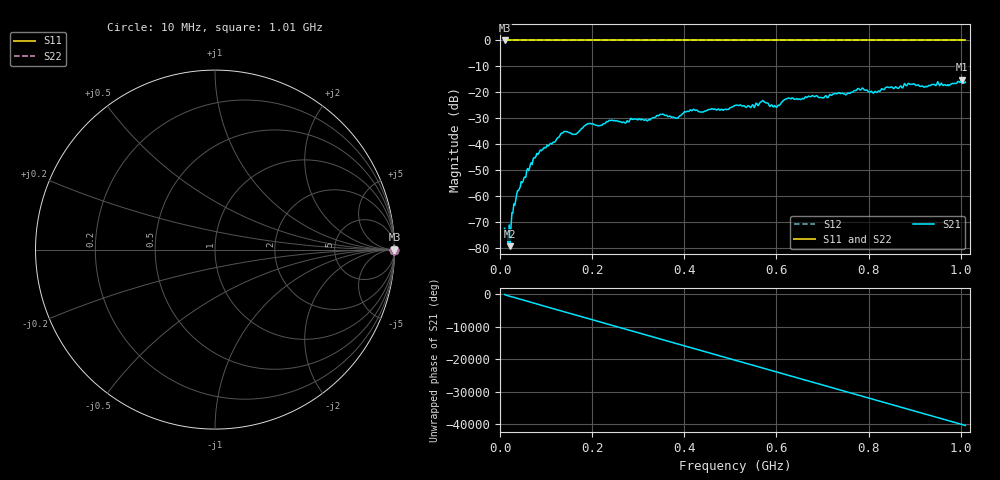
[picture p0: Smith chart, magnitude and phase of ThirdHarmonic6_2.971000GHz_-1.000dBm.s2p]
! 8/17/2025 8:24:47 AM
! C:\ANRITSUVNA\TEMP\TEMP.S2P
! CHANNEL.1
! TR.MEASUREMENT
! RAW.DATA
! RF.CORRECTION.OFF
! AVERAGING.OFF
! IF.BANDWIDTH: 5KHZ
! SWEEPTYPE:  FREQ.SWEEP(Linear)
! Reference Plane Port Info
! PORT:  PORT1  PORT2
! DISTANCE:  0  m  0  m
! TIME:  0  s  0  s
! PHASE.OFFSET:  0  deg.  0  deg.
! LOSS:  0  dB  0  dB
! REF.LOSS:  0  dB  0  dB
! REF.FREQ:  0  Hz  0  Hz
! Power Info
! POWER:  -20  dBm  -20  dBm
! EFF.POWER:  -20  dBm  -20  dBm
! SOURCE.ATTEN:  0  dB  0  dB
! TEST.ATTEN:  0  dB  0  dB
# GHZ S RI R 50.0
! FREQ.GHZ  S11RE  S11IM  S21RE  S21IM  S12RE  S12IM  S22RE  S22IM
!; PortSelection: Port_12
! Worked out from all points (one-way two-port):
!   501 points, 10 MHz to 1.01 GHz, reference 50 ohm
!   highest |S21| = -15.07 dB at 1.002 GHz (marker M1); lowest = -79.2 dB at 22 MHz (marker M2)
!   lowest |S11| = 0.0 dB at 10 MHz (marker M3)
!   |S11| at or under -10 dB: nowhere
!   |S22| runs from 0.0 to 0.0 dB; largest |S21 - S12| = 1.2
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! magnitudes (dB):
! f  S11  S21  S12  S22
! 10 MHz  0.0  -72.3  0.0  0.0
! 18 MHz  0.0  -78.2  0.0  0.0
! 22 MHz  0.0  -79.2  0.0  0.0
! 30 MHz  0.0  -63.0  0.0  0.0
! 40 MHz  0.0  -57.8  0.0  0.0
! 76 MHz  0.0  -45.2  0.0  0.0
! 136 MHz  0.0  -35.6  0.0  0.0
! 162 MHz  0.0  -36.2  0.0  0.0
! 178 MHz  0.0  -33.9  0.0  0.0
! 192 MHz  0.0  -32.0  0.0  0.0
! 322 MHz  0.0  -30.6  0.0  0.0
! 344 MHz  0.0  -29.0  0.0  0.0
! 384 MHz  0.0  -29.9  0.0  0.0
! 416 MHz  0.0  -27.1  0.0  0.0
! 510 MHz  0.0  -25.0  0.0  0.0
! 570 MHz  0.0  -23.1  0.0  0.0
! 598 MHz  0.0  -25.5  0.0  0.0
! 622 MHz  0.0  -22.5  0.0  0.0
! 678 MHz  0.0  -21.2  0.0  0.0
! 844 MHz  0.0  -18.1  0.0  0.0
! 1.002 GHz  0.0  -15.1  0.0  0.0
! 1.01 GHz  0.0  -16.0  0.0  0.0
